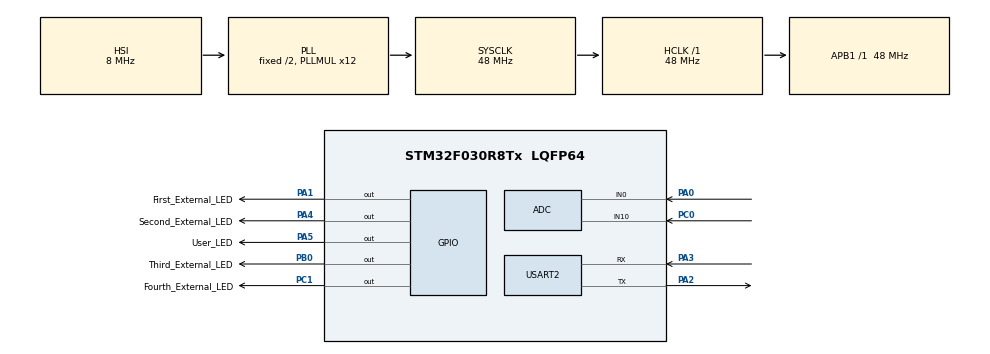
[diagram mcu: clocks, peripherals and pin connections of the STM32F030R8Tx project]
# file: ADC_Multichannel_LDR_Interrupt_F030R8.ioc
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ADC.ContinuousConvMode=ENABLE
ADC.SamplingTime=ADC_SAMPLETIME_239CYCLES_5
Mcu.Family=STM32F0
Mcu.Name=STM32F030R8Tx
Mcu.Package=LQFP64
NVIC.ADC1_IRQn=true\:0\:0\:false\:false\:true\:true\:true\:true
PA0.Mode=IN0
PA0.Signal=ADC_IN0
PA1.GPIO_Label=First_External_LED
PA1.GPIO_Speed=GPIO_SPEED_FREQ_MEDIUM
PA1.Signal=GPIO_Output
PA13.Mode=Serial_Wire
PA13.Signal=SYS_SWDIO
PA14.Mode=Serial_Wire
PA14.Signal=SYS_SWCLK
PA2.Mode=Asynchronous
PA2.Signal=USART2_TX
PA3.Mode=Asynchronous
PA3.Signal=USART2_RX
PA4.GPIO_Label=Second_External_LED
PA4.GPIO_Speed=GPIO_SPEED_FREQ_MEDIUM
PA4.Signal=GPIO_Output
PA5.GPIO_Label=User_LED
PA5.GPIO_Speed=GPIO_SPEED_FREQ_MEDIUM
PA5.Signal=GPIO_Output
PB0.GPIO_Label=Third_External_LED
PB0.GPIO_Speed=GPIO_SPEED_FREQ_MEDIUM
PB0.Signal=GPIO_Output
PC0.Mode=IN10
PC0.Signal=ADC_IN10
PC1.GPIO_Label=Fourth_External_LED
PC1.GPIO_Speed=GPIO_SPEED_FREQ_MEDIUM
PC1.Signal=GPIO_Output
ProjectManager.HeapSize=0x200
ProjectManager.StackSize=0x400
ProjectManager.TargetToolchain=STM32CubeIDE
RCC.AHBFreq_Value=48000000
RCC.APB1Freq_Value=48000000
RCC.APB1TimFreq_Value=48000000
RCC.HCLKFreq_Value=48000000
RCC.PLLMUL=RCC_PLL_MUL12
RCC.SYSCLKFreq_VALUE=48000000
RCC.SYSCLKSource=RCC_SYSCLKSOURCE_PLLCLK
USART2.VirtualMode-Asynchronous=VM_ASYNC
board=NUCLEO-F030R8

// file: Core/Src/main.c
/* USER CODE BEGIN Header */
/**
 ******************************************************************************
 * @file           : main.c
 * @brief          : Main program body
 ******************************************************************************
 * @attention
 *
 * Copyright (c) 2026 STMicroelectronics.
 * All rights reserved.
 *
 * This software is licensed under terms that can be found in the LICENSE file
 * in the root directory of this software component.
 * If no LICENSE file comes with this software, it is provided AS-IS.
 *
 ******************************************************************************
 */
/* USER CODE END Header */
#include "main.h"

/* USER CODE BEGIN Includes */
#include "stdio.h"
#include "string.h"
/* USER CODE END Includes */

/* USER CODE BEGIN PD */
#define LIGHT_THRESHOLD 450
/* USER CODE END PD */

ADC_HandleTypeDef hadc;

UART_HandleTypeDef huart2;

/* USER CODE BEGIN PV */
volatile uint32_t ADC_Values[2]; //ADC degerlerini kaydetmek icin yazildi, volatile olmasinin nedeni surekli degisen deger kaydedilecek olmasi, islemci bu durumu bilerek optimizasyon yapmalidir
volatile uint32_t ADC_Value_Pot = 0; //Pot degerlerini kaydetmek icin yazildi, volatile olmasinin nedeni surekli degisen deger kaydedilecek olmasi, islemci bu durumu bilerek optimizasyon yapmalidir
volatile uint32_t ADC_Value_LDR = 0; //LDR degerlerini kaydetmek icin yazildi, volatile olmasinin nedeni surekli degisen deger kaydedilecek olmasi, islemci bu durumu bilerek optimizasyon yapmalidir
char UART_Buffer[64];
uint8_t LED_Status = 0;
int Constrain_Value = 0; //sinirlama fonksiyonunda, hesaplama yapmak icin yazildi
volatile long Map_Value = 0; //map fonksiyonunda, hesaplama yapmak icin yazildi
float Voltage = 0;               //gerilimi kaydetmek icin yazildi

/* USER CODE END PV */

void SystemClock_Config(void);
static void MX_GPIO_Init(void);
static void MX_ADC_Init(void);
static void MX_USART2_UART_Init(void);
/* USER CODE BEGIN PFP */
int constrain(int value, int min, int max); //bu fonksiyon ADC degerlerini belli bir aralikta (max ile min araligi) sınırlamak icin kullanilir
long map(long value, long in_min, long in_max, long out_min, long out_max); //bu fonksiyon constrain fonksiyonu ile sinirlandirilan araliktadki ADC degerlerini 0 ile 100 araligina donusturur
/* USER CODE END PFP */

/* USER CODE BEGIN 0 */
int constrain(int value, int min, int max) { //bu fonksiyon ADC degerlerini belli bir aralikta (max ile min araligi) sınırlamak icin kullanilir
	if (value < min) //alinan ADC degeri minimum degerden kucuk olup olmadigi kontrol edildi
		return min;
	else if (value > max) //alinan ADC degeri maximum degerden buyuk olup olmadigi kontrol edildi
		return max;
	else
		return value; //alinan ADC degeri minimum ve maksimum arasinda ise degeri degismedi
}

long map(long value, long in_min, long in_max, long out_min, long out_max) { //belirli araliktaki degerleri istenilen baska bir araliga (0 ile 100 arasina) donusturmek icin yazildi
	return ((Constrain_Value - in_min) * (out_max - out_min) / (in_max - in_min))
			+ out_min; //iki noktasi bilinen dogrunun denklemini bulan formule gore yazildi, sonuc=(ADC-x1)*(y2-y1)/(x2-x1)+y1
}
/* USER CODE END 0 */

int main(void) {

	/* MCU Configuration--------------------------------------------------------*/

	/* Reset of all peripherals, Initializes the Flash interface and the Systick. */
	HAL_Init();

	/* Configure the system clock */
	SystemClock_Config();

	/* Initialize all configured peripherals */
	MX_GPIO_Init();
	MX_ADC_Init();
	MX_USART2_UART_Init();
	/* USER CODE BEGIN 2 */
	HAL_ADC_Start_IT(&hadc);	//interrupt baslatmak icin yazildi
	/* USER CODE END 2 */

	/* Infinite loop */
	while (1) {

		/* USER CODE BEGIN 3 */
		sprintf(UART_Buffer, "Voltage: %.2f, Light Level: %lu, LED Status: %s\r\n", Voltage, ADC_Value_LDR, LED_Status ? "ON" : "OFF");
		HAL_UART_Transmit(&huart2, (uint8_t*) UART_Buffer, strlen(UART_Buffer),	HAL_MAX_DELAY);
		HAL_Delay(500);

		Constrain_Value = constrain(ADC_Value_Pot, 50, 3080); //ADC_Value degerlerini 50 ile 4000 arasina sinirlandirmak icin yazildi
		Map_Value = map(Constrain_Value, 50, 3080, 0, 100);	//sinirlandirilan ADC degerlerini map fonksiyonu ile 0-100 arasina donusturuldu

		// 1. LED: 0'dan büyükse yanar (25'in altında bile olsa)
		if (Map_Value > 0) {
			HAL_GPIO_WritePin(GPIOA, GPIO_PIN_1, GPIO_PIN_SET);
		} else {
			HAL_GPIO_WritePin(GPIOA, GPIO_PIN_1, GPIO_PIN_RESET);
		}

		// 2. LED: 25'ten büyükse yanar
		if (Map_Value > 25) {
			HAL_GPIO_WritePin(GPIOA, GPIO_PIN_4, GPIO_PIN_SET);
		} else {
			HAL_GPIO_WritePin(GPIOA, GPIO_PIN_4, GPIO_PIN_RESET);
		}

		// 3. LED: 50'den büyükse yanar
		if (Map_Value > 50) {
			HAL_GPIO_WritePin(GPIOB, GPIO_PIN_0, GPIO_PIN_SET);
		} else {
			HAL_GPIO_WritePin(GPIOB, GPIO_PIN_0, GPIO_PIN_RESET);
		}

		// 4. LED: 75'ten büyükse yanar
		if (Map_Value > 75) {
			HAL_GPIO_WritePin(GPIOC, GPIO_PIN_1, GPIO_PIN_SET);
		} else {
			HAL_GPIO_WritePin(GPIOC, GPIO_PIN_1, GPIO_PIN_RESET);
		}

		Voltage = ADC_Value_Pot * (3.3 / 4030); //gerilim degeri hesaplamak icin yazildi
		HAL_Delay(50);
	}
	/* USER CODE END 3 */
}

void SystemClock_Config(void) {
	RCC_OscInitTypeDef RCC_OscInitStruct = { 0 };
	RCC_ClkInitTypeDef RCC_ClkInitStruct = { 0 };

	/** Initializes the RCC Oscillators according to the specified parameters
	 * in the RCC_OscInitTypeDef structure.
	 */
	RCC_OscInitStruct.OscillatorType = RCC_OSCILLATORTYPE_HSI
			| RCC_OSCILLATORTYPE_HSI14;
	RCC_OscInitStruct.HSIState = RCC_HSI_ON;
	RCC_OscInitStruct.HSI14State = RCC_HSI14_ON;
	RCC_OscInitStruct.HSICalibrationValue = RCC_HSICALIBRATION_DEFAULT;
	RCC_OscInitStruct.HSI14CalibrationValue = 16;
	RCC_OscInitStruct.PLL.PLLState = RCC_PLL_ON;
	RCC_OscInitStruct.PLL.PLLSource = RCC_PLLSOURCE_HSI;
	RCC_OscInitStruct.PLL.PLLMUL = RCC_PLL_MUL12;
	RCC_OscInitStruct.PLL.PREDIV = RCC_PREDIV_DIV1;
	if (HAL_RCC_OscConfig(&RCC_OscInitStruct) != HAL_OK) {
		Error_Handler();
	}

	/** Initializes the CPU, AHB and APB buses clocks
	 */
	RCC_ClkInitStruct.ClockType = RCC_CLOCKTYPE_HCLK | RCC_CLOCKTYPE_SYSCLK
			| RCC_CLOCKTYPE_PCLK1;
	RCC_ClkInitStruct.SYSCLKSource = RCC_SYSCLKSOURCE_PLLCLK;
	RCC_ClkInitStruct.AHBCLKDivider = RCC_SYSCLK_DIV1;
	RCC_ClkInitStruct.APB1CLKDivider = RCC_HCLK_DIV1;

	if (HAL_RCC_ClockConfig(&RCC_ClkInitStruct, FLASH_LATENCY_1) != HAL_OK) {
		Error_Handler();
	}
}

static void MX_ADC_Init(void) {

	ADC_ChannelConfTypeDef sConfig = { 0 };

	/** Configure the global features of the ADC (Clock, Resolution, Data Alignment and number of conversion)
	 */
	hadc.Instance = ADC1;
	hadc.Init.ClockPrescaler = ADC_CLOCK_ASYNC_DIV1;
	hadc.Init.Resolution = ADC_RESOLUTION_12B;
	hadc.Init.DataAlign = ADC_DATAALIGN_RIGHT;
	hadc.Init.ScanConvMode = ADC_SCAN_DIRECTION_FORWARD;
	hadc.Init.EOCSelection = ADC_EOC_SINGLE_CONV;
	hadc.Init.LowPowerAutoWait = DISABLE;
	hadc.Init.LowPowerAutoPowerOff = DISABLE;
	hadc.Init.ContinuousConvMode = ENABLE;
	hadc.Init.DiscontinuousConvMode = DISABLE;
	hadc.Init.ExternalTrigConv = ADC_SOFTWARE_START;
	hadc.Init.ExternalTrigConvEdge = ADC_EXTERNALTRIGCONVEDGE_NONE;
	hadc.Init.DMAContinuousRequests = DISABLE;
	hadc.Init.Overrun = ADC_OVR_DATA_PRESERVED;
	if (HAL_ADC_Init(&hadc) != HAL_OK) {
		Error_Handler();
	}

	/** Configure for the selected ADC regular channel to be converted.
	 */
	sConfig.Channel = ADC_CHANNEL_0;
	sConfig.Rank = ADC_RANK_CHANNEL_NUMBER;
	sConfig.SamplingTime = ADC_SAMPLETIME_239CYCLES_5;
	if (HAL_ADC_ConfigChannel(&hadc, &sConfig) != HAL_OK) {
		Error_Handler();
	}

	/** Configure for the selected ADC regular channel to be converted.
	 */
	sConfig.Channel = ADC_CHANNEL_10;
	if (HAL_ADC_ConfigChannel(&hadc, &sConfig) != HAL_OK) {
		Error_Handler();
	}

}

static void MX_USART2_UART_Init(void) {

	huart2.Instance = USART2;
	huart2.Init.BaudRate = 38400;
	huart2.Init.WordLength = UART_WORDLENGTH_8B;
	huart2.Init.StopBits = UART_STOPBITS_1;
	huart2.Init.Parity = UART_PARITY_NONE;
	huart2.Init.Mode = UART_MODE_TX_RX;
	huart2.Init.HwFlowCtl = UART_HWCONTROL_NONE;
	huart2.Init.OverSampling = UART_OVERSAMPLING_16;
	huart2.Init.OneBitSampling = UART_ONE_BIT_SAMPLE_DISABLE;
	huart2.AdvancedInit.AdvFeatureInit = UART_ADVFEATURE_NO_INIT;
	if (HAL_UART_Init(&huart2) != HAL_OK) {
		Error_Handler();
	}

}

static void MX_GPIO_Init(void) {
	GPIO_InitTypeDef GPIO_InitStruct = { 0 };

	/* GPIO Ports Clock Enable */
	__HAL_RCC_GPIOC_CLK_ENABLE();
	__HAL_RCC_GPIOA_CLK_ENABLE();
	__HAL_RCC_GPIOB_CLK_ENABLE();

	/*Configure GPIO pin Output Level */
	HAL_GPIO_WritePin(Fourth_External_LED_GPIO_Port, Fourth_External_LED_Pin,
			GPIO_PIN_RESET);

	/*Configure GPIO pin Output Level */
	HAL_GPIO_WritePin(GPIOA,
	First_External_LED_Pin | Second_External_LED_Pin | User_LED_Pin,
			GPIO_PIN_RESET);

	/*Configure GPIO pin Output Level */
	HAL_GPIO_WritePin(Third_External_LED_GPIO_Port, Third_External_LED_Pin,
			GPIO_PIN_RESET);

	/*Configure GPIO pin : Fourth_External_LED_Pin */
	GPIO_InitStruct.Pin = Fourth_External_LED_Pin;
	GPIO_InitStruct.Mode = GPIO_MODE_OUTPUT_PP;
	GPIO_InitStruct.Pull = GPIO_NOPULL;
	GPIO_InitStruct.Speed = GPIO_SPEED_FREQ_MEDIUM;
	HAL_GPIO_Init(Fourth_External_LED_GPIO_Port, &GPIO_InitStruct);

	/*Configure GPIO pins : First_External_LED_Pin Second_External_LED_Pin User_LED_Pin */
	GPIO_InitStruct.Pin = First_External_LED_Pin | Second_External_LED_Pin
			| User_LED_Pin;
	GPIO_InitStruct.Mode = GPIO_MODE_OUTPUT_PP;
	GPIO_InitStruct.Pull = GPIO_NOPULL;
	GPIO_InitStruct.Speed = GPIO_SPEED_FREQ_MEDIUM;
	HAL_GPIO_Init(GPIOA, &GPIO_InitStruct);

	/*Configure GPIO pin : Third_External_LED_Pin */
	GPIO_InitStruct.Pin = Third_External_LED_Pin;
	GPIO_InitStruct.Mode = GPIO_MODE_OUTPUT_PP;
	GPIO_InitStruct.Pull = GPIO_NOPULL;
	GPIO_InitStruct.Speed = GPIO_SPEED_FREQ_MEDIUM;
	HAL_GPIO_Init(Third_External_LED_GPIO_Port, &GPIO_InitStruct);

}

/* USER CODE BEGIN 4 */
void HAL_ADC_ConvCpltCallback(ADC_HandleTypeDef *hadc) {
	if (hadc->Instance == ADC1) { //hangi ADC den deger geldigini kontrol etmek icin yazildi (f030r8 de 1 tane ADC var ama başka mikrodenetleyicilerde 1 den fazla olabilir)
		static uint8_t Conversion_Counter = 0; //static olmasinin nedeni, guc kesildiginde veya kart yeniden baslatildiginda conversion un kaldgigi yerden (pot veya ldr) devam etsin diye
		ADC_Values[Conversion_Counter] = HAL_ADC_GetValue(hadc); //sayici (Conversion_Counter) degiskenine gore sirasiyla ADC degerini kayit etmek icin yazildi

		if (Conversion_Counter == 0) {
			ADC_Value_Pot = ADC_Values[0]; //sayici degeri 0 ise ADC_Values in ilk elemanina kaydet
		} else {
			ADC_Value_LDR = ADC_Values[1]; //sayici degeri 1 ise ADC_Values in ikinci elemanina kaydet
			if (ADC_Value_LDR < LIGHT_THRESHOLD) {
				HAL_GPIO_WritePin(User_LED_GPIO_Port, User_LED_Pin, 1);
				LED_Status = 1;
			} else {
				HAL_GPIO_WritePin(User_LED_GPIO_Port, User_LED_Pin, 0);
				LED_Status = 0;
			}
		}

		Conversion_Counter++;
		if (Conversion_Counter >= 2) { //Conversion_Counter degiskeni 2 den sonra sifirlanmalidir
			Conversion_Counter = 0;
		}
	}
}
/* USER CODE END 4 */

void Error_Handler(void) {
	__disable_irq();
	while (1) {
	}
}
